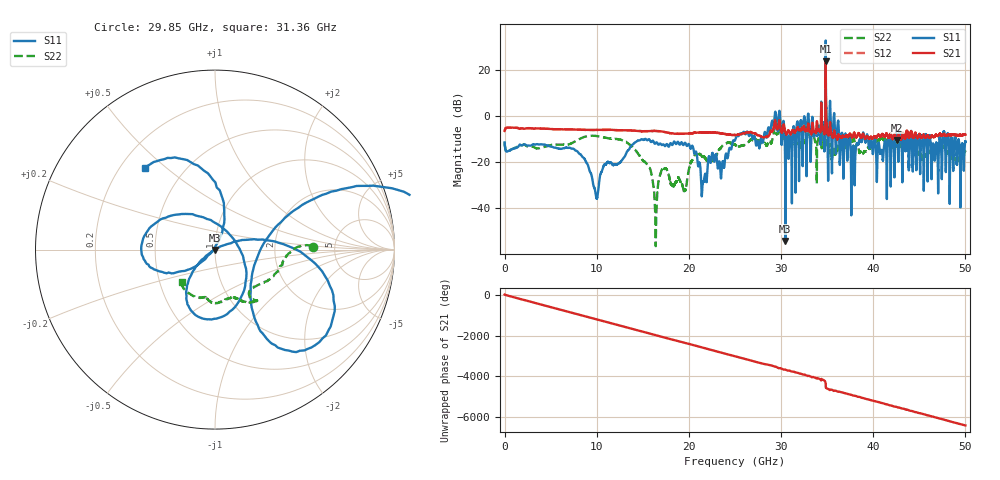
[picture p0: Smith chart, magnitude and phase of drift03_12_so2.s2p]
!Created with skrf (http://scikit-rf.org).
# Hz S RI R 50.0
!freq ReS11 ImS11 ReS21 ImS21 ReS12 ImS12 ReS22 ImS22
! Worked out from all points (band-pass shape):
!   10001 points, 300 kHz to 50 GHz, reference 50 ohm
!   highest |S21| = 23.68 dB at 34.85 GHz (marker M1); lowest = -10.4 dB at 42.56 GHz (marker M2)
!   |S21| within 3 dB of the highest: 34.84339 GHz to 34.84642 GHz (3.035 MHz wide, 0.00871 % of centre)
!   lowest |S11| = -54.1 dB at 30.47 GHz (marker M3), VSWR 1.00, Z = 49.9 - j0.153 ohm
!   |S11| at or under -10 dB: start of sweep to 15.23 GHz; 15.33 GHz to 25.05 GHz (9.727 GHz wide, 48.2 % of centre); 40.22 GHz to 41.65 GHz (1.431 GHz wide, 3.5 % of centre) (the widest 3 of 56)
!   |S22| runs from -56.4 to 14.6 dB; largest |S21 - S12| = 2.2
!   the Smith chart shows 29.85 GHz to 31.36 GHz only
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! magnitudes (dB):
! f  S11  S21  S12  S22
! 300 kHz  -11.5  -6.5  -6.5  -11.4
! 8.335 GHz  -17.1  -6.0  -6.0  -9.6
! 9.955 GHz  -35.6  -6.1  -6.1  -8.7
! 11 GHz  -20.9  -6.0  -6.1  -9.5
! 15.51 GHz  -10.5  -6.6  -6.6  -21.4
! 16.36 GHz  -11.9  -6.5  -6.5  -45.1
! 16.67 GHz  -12.4  -6.5  -6.5  -29.2
! 17.32 GHz  -12.7  -7.0  -6.9  -22.9
! 19.54 GHz  -11.7  -7.7  -7.7  -32.2
! 20.21 GHz  -13.9  -7.5  -7.5  -20.1
! 21.55 GHz  -28.4  -7.2  -7.2  -17.7
! 25 GHz  -10.6  -8.3  -8.2  -12.5
! 29.6 GHz  -5.6  -5.7  -5.9  -7.9
! 30.47 GHz  -54.1  -7.2  -7.2  -9.1
! 33.34 GHz  -3.8  -6.9  -6.8  -9.4
! 34.85 GHz  32.7  23.7  23.4  14.6
! 35.63 GHz  -5.9  -9.3  -9.2  -15.8
! 37.81 GHz  -13.0  -8.5  -8.5  -10.3
! 38.8 GHz  -10.1  -8.7  -8.6  -16.1
! 41.67 GHz  -9.8  -9.5  -9.5  -11.6
! 42.56 GHz  -8.4  -10.4  -10.5  -13.1
! 50 GHz  -11.1  -8.1  -8.2  -15.5
